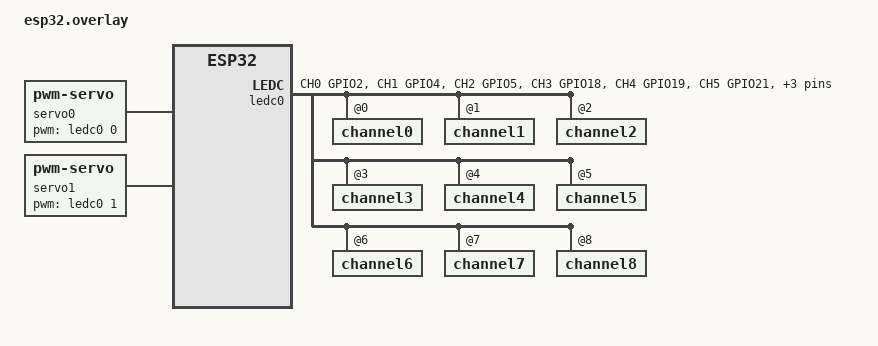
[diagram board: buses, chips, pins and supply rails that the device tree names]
/*
 * SPDX-License-Identifier: Apache-2.0
 *
 * Copyright (c) 2021 Andrei-Edward Popa
 */

/ {

	aliases {
	/* 	pwm-0 = &ledc0; */
	/* 	pwm-led0 = &pwm_led_blue; */
    /* servo = &servo0_label; */
	};

	servo0: servo0 {
		compatible = "pwm-servo"; // Quiere decir que será compatible con el ../dts/bindings/pw-servo.yaml
    /* A continuación se determina el tiempo en el cual
    el servo_motor se ubica en una posición entre 0 a 180 grados
    los cuales corresponden a 0.7 mS (min) hasta 2.5 mS (max) de los
    20 mS que corresponden al perido */
		pwms = <&ledc0 0 PWM_MSEC(20) PWM_POLARITY_NORMAL>;
		min-pulse = <PWM_USEC(700)>;
		max-pulse = <PWM_USEC(2500)>;
	};

	servo1: servo1 {
		compatible = "pwm-servo";
		pwms = <&ledc0 1 PWM_MSEC(20) PWM_POLARITY_NORMAL>;
		min-pulse = <PWM_USEC(700)>;
		max-pulse = <PWM_USEC(2500)>;
	};

  /* ENLISTAR AQUÍ LOS DEMÁS NODOS QUE SE REQUIERAN PARA LOS DEMÁS CANALES DE SERVOMOTORES */
  /* ... */

};

&pinctrl {
	ledc0_default: ledc0_default {
		group1 {
      /* Este es un ejemplo de configuración, pero podrá obtener más opciones
      de configuración de canales/gpios según la necesidad y según es observado
      en el siguiente enlace:
      https://github.com/zephyrproject-rtos/hal_espressif/blob/zephyr/include/dt-bindings/pinctrl/esp32-pinctrl.h
      */
			pinmux =
      <LEDC_CH0_GPIO2>,
      <LEDC_CH1_GPIO4>,
      <LEDC_CH2_GPIO5>,
      <LEDC_CH3_GPIO18>,
      <LEDC_CH4_GPIO19>,
      <LEDC_CH5_GPIO21>,
      <LEDC_CH6_GPIO22>,
      <LEDC_CH7_GPIO23>,
      <LEDC_CH8_GPIO15>
      /*... CH9, CH10, CH11, CH12, CH13, CH14, CH15. CONFIGURE MÁS CANALES (separados por comas) SIN SON REQUERIDOS CON LOS GPIOS */
      ;
			output-enable;
		};
	};
};

&ledc0 {
	pinctrl-0 = <&ledc0_default>;
	pinctrl-names = "default";
	status = "okay";
	#address-cells = <1>;
	#size-cells = <0>;
	channel0@0 {
		reg = <0x0>;
		timer = <0>;
	};
	channel1@1 {
		reg = <0x1>;
		timer = <0>;
	};
	channel2@2 {
		reg = <0x2>;
		timer = <0>;
	};
	channel3@3 {
		reg = <0x3>;
		timer = <0>;
	};
	channel4@4 {
		reg = <0x4>;
		timer = <0>;
	};
	channel5@5 {
		reg = <0x5>;
		timer = <0>;
	};
	channel6@6 {
		reg = <0x6>;
		timer = <0>;
	};
	channel7@7 {
		reg = <0x7>;
		timer = <0>;
	};
	channel8@8 {
		reg = <0x8>;
		timer = <0>;
	};
  /* Por cada canal/gpio configurado requerirá señalar
  qué taimer y qué registro usar como se ve arriva.
  Si requiere configurar más canales tenga presente
  las configuraciones anteriores como guía. */
};
